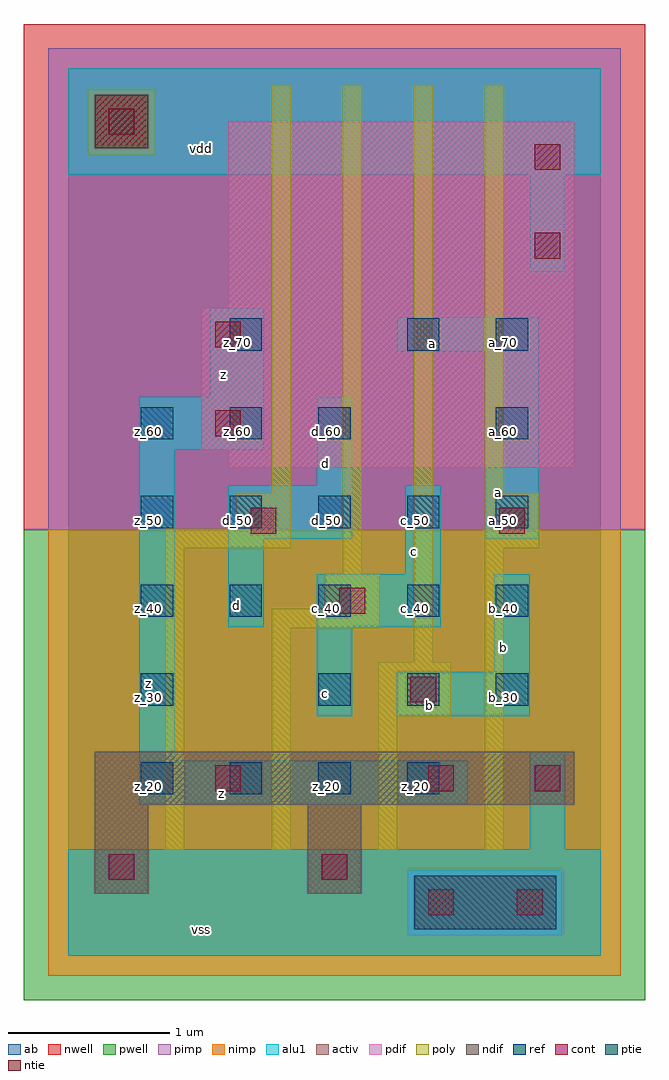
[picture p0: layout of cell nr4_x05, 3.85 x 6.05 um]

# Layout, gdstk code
import gdstk
lib = gdstk.Library(unit=1e-6, precision=2.5e-09)
def R(c, l, rs):  # rectangles x0, y0, x1, y1
    for r in rs: c.add(gdstk.rectangle(r[:2], r[2:], *l))
def A(c, l, x, y, w, h, nx, ny, dx, dy):  # array of equal rectangles
    R(c, l, [(x+i*dx, y+j*dy, x+i*dx+w, y+j*dy+h) for i in range(nx) for j in range(ny)])
ndif = (3, 0)
pdif = (4, 0)
ntie = (5, 0)
ptie = (6, 0)
ref = (24, 0)
cont = (25, 0)
pwell = (41, 0)
nwell = (42, 0)
activ = (43, 0)
pimp = (44, 0)
nimp = (45, 0)
poly = (46, 0)
alu1 = (49, 0)
ab = (63, 0)

nr4_x05 = lib.new_cell('nr4_x05')
R(nr4_x05, ndif, [(0.165,0.385,0.495,0.935), (1.485,0.385,1.815,0.935), (0.165,0.935,3.135,1.265)])
R(nr4_x05, pdif, [(0.99,3.025,3.135,3.135), (0.825,3.135,3.135,4.015), (0.99,4.015,3.135,5.17)])
R(nr4_x05, ntie, [(0.165,5.005,0.495,5.335)])
R(nr4_x05, ptie, [(2.145,0.165,3.025,0.495)])
A(nr4_x05, ref, 0.45, 1, 0.2, 0.2, 4, 1, 0.55, 0)
A(nr4_x05, ref, 1.55, 1.55, 0.2, 0.2, 3, 1, 0.55, 0)
A(nr4_x05, ref, 0.45, 2.1, 0.2, 0.2, 5, 2, 0.55, 0.55)
A(nr4_x05, ref, 0.45, 3.2, 0.2, 0.2, 3, 1, 0.55, 0)
R(nr4_x05, ref, [(0.45,1.55,0.65,1.75), (2.65,3.2,2.85,3.4), (1,3.75,1.2,3.95), (2.1,3.75,2.3,3.95), (2.65,3.75,2.85,3.95)])
R(nr4_x05, cont, [(2.23,0.25,2.39,0.41), (2.78,0.25,2.94,0.41), (0.25,0.47,0.41,0.63), (1.57,0.47,1.73,0.63), (0.91,1.02,1.07,1.18), (2.23,1.02,2.39,1.18), (2.89,1.02,3.05,1.18), (2.12,1.57,2.28,1.73), (1.68,2.12,1.84,2.28), (1.13,2.615,1.29,2.775), (2.67,2.615,2.83,2.775), (0.91,3.22,1.07,3.38), (0.91,3.77,1.07,3.93), (2.89,4.32,3.05,4.48), (2.89,4.87,3.05,5.03), (0.25,5.09,0.41,5.25)])
R(nr4_x05, pwell, [(-0.275,-0.275,3.575,2.64)])
R(nr4_x05, nwell, [(-0.275,2.64,3.575,5.775)])
R(nr4_x05, activ, [(2.145,0.165,3.025,0.495), (0.165,0.385,0.495,0.935), (1.485,0.385,1.815,0.935), (0.165,0.935,3.135,1.265), (0.99,3.025,3.135,3.135), (0.825,3.135,3.135,4.015), (0.99,4.015,3.135,5.17), (0.165,5.005,0.495,5.335)])
R(nr4_x05, pimp, [(2.105,0.125,3.065,0.535), (-0.125,2.64,3.425,4.965), (-0.125,4.965,0.125,5.375), (0.535,4.965,3.425,5.375), (-0.125,5.375,3.425,5.625)])
R(nr4_x05, nimp, [(-0.125,-0.125,3.425,0.125), (-0.125,0.125,2.105,0.535), (3.065,0.125,3.425,0.535), (-0.125,0.535,3.425,2.64), (0.125,4.965,0.535,5.375)])
R(nr4_x05, poly, [(0.6,0.655,0.72,2.525), (1.26,0.655,1.38,2.03), (1.92,0.655,2.04,1.48), (2.58,0.655,2.7,2.525), (1.92,1.48,2.37,1.82), (2.14,1.82,2.26,5.395), (1.26,2.03,1.93,2.15), (1.59,2.15,1.93,2.37), (1.7,2.37,1.82,5.395), (0.6,2.525,1.38,2.645), (2.58,2.525,2.92,2.865), (1.04,2.645,1.38,2.865), (1.26,2.865,1.38,5.395), (2.58,2.865,2.7,5.395)])
R(nr4_x05, alu1, [(0,0,3.3,0.66), (2.86,0.66,3.08,1.265), (0.44,0.935,2.475,1.21), (0.44,1.21,0.66,3.135), (1.54,1.485,1.76,2.035), (2.035,1.485,2.86,1.76), (2.64,1.76,2.86,2.365), (0.99,2.035,1.21,2.585), (1.54,2.035,2.31,2.365), (2.09,2.365,2.31,2.915), (0.99,2.585,1.76,2.915), (2.585,2.585,2.915,3.74), (1.54,2.915,1.76,3.465), (0.44,3.135,1.21,3.465), (0.88,3.465,1.21,4.015), (2.035,3.74,2.915,3.96), (2.86,4.235,3.08,4.84), (0,4.84,3.3,5.5)])
R(nr4_x05, ab, [(0,0,3.3,5.5)])
nr4_x05.add(gdstk.Label('vss', (0.825,0.165), layer=49, texttype=0))
nr4_x05.add(gdstk.Label('z', (0.9475,1.0025), layer=49, texttype=0))
nr4_x05.add(gdstk.Label('b', (2.24,1.5525), layer=49, texttype=0))
nr4_x05.add(gdstk.Label('b', (2.695,1.91), layer=49, texttype=0))
nr4_x05.add(gdstk.Label('c', (1.595,1.6225), layer=49, texttype=0))
nr4_x05.add(gdstk.Label('a', (2.6675,2.8725), layer=49, texttype=0))
nr4_x05.add(gdstk.Label('c', (2.145,2.5025), layer=49, texttype=0))
nr4_x05.add(gdstk.Label('d', (1.045,2.1725), layer=49, texttype=0))
nr4_x05.add(gdstk.Label('d', (1.595,3.0525), layer=49, texttype=0))
nr4_x05.add(gdstk.Label('z', (0.495,1.69), layer=49, texttype=0))
nr4_x05.add(gdstk.Label('a', (2.255,3.795), layer=49, texttype=0))
nr4_x05.add(gdstk.Label('z', (0.9625,3.6025), layer=49, texttype=0))
nr4_x05.add(gdstk.Label('vdd', (0.825,5.005), layer=49, texttype=0))
nr4_x05.add(gdstk.Label('a_70', (2.15,3.8), layer=24, texttype=0))
nr4_x05.add(gdstk.Label('z_20', (0.5,1.05), layer=24, texttype=0))
nr4_x05.add(gdstk.Label('d_50', (1.05,2.7), layer=24, texttype=0))
nr4_x05.add(gdstk.Label('c_40', (1.6,2.15), layer=24, texttype=0))
nr4_x05.add(gdstk.Label('b_30', (2.7,1.6), layer=24, texttype=0))
nr4_x05.add(gdstk.Label('z_50', (0.5,2.7), layer=24, texttype=0))
nr4_x05.add(gdstk.Label('z_60', (1.05,3.25), layer=24, texttype=0))
nr4_x05.add(gdstk.Label('c_40', (2.15,2.15), layer=24, texttype=0))
nr4_x05.add(gdstk.Label('z_40', (0.5,2.15), layer=24, texttype=0))
nr4_x05.add(gdstk.Label('z_30', (0.5,1.6), layer=24, texttype=0))
nr4_x05.add(gdstk.Label('a_50', (2.7,2.7), layer=24, texttype=0))
nr4_x05.add(gdstk.Label('b_30', (2.15,1.6), layer=24, texttype=0))
nr4_x05.add(gdstk.Label('z_20', (1.05,1.05), layer=24, texttype=0))
nr4_x05.add(gdstk.Label('z_20', (1.6,1.05), layer=24, texttype=0))
nr4_x05.add(gdstk.Label('z_20', (2.15,1.05), layer=24, texttype=0))
nr4_x05.add(gdstk.Label('z_70', (1.05,3.8), layer=24, texttype=0))
nr4_x05.add(gdstk.Label('c_30', (1.6,1.6), layer=24, texttype=0))
nr4_x05.add(gdstk.Label('c_50', (2.15,2.7), layer=24, texttype=0))
nr4_x05.add(gdstk.Label('d_40', (1.05,2.15), layer=24, texttype=0))
nr4_x05.add(gdstk.Label('b_40', (2.7,2.15), layer=24, texttype=0))
nr4_x05.add(gdstk.Label('a_60', (2.7,3.25), layer=24, texttype=0))
nr4_x05.add(gdstk.Label('a_70', (2.7,3.8), layer=24, texttype=0))
nr4_x05.add(gdstk.Label('d_60', (1.6,3.25), layer=24, texttype=0))
nr4_x05.add(gdstk.Label('z_60', (0.5,3.25), layer=24, texttype=0))
nr4_x05.add(gdstk.Label('d_50', (1.6,2.7), layer=24, texttype=0))

lib.write_gds('nr4_x05.gds')
